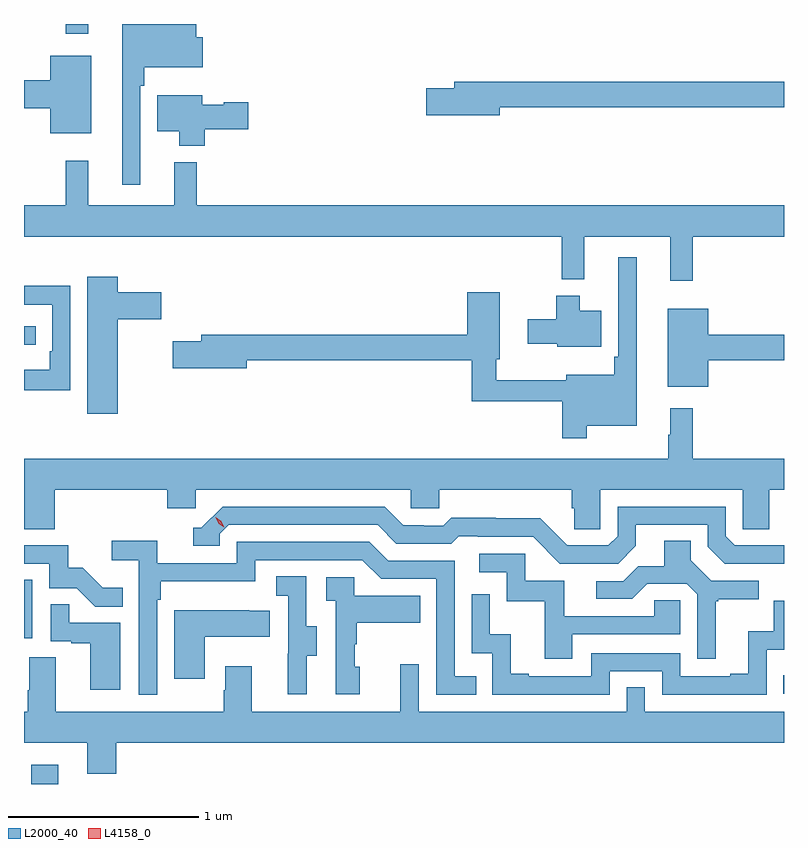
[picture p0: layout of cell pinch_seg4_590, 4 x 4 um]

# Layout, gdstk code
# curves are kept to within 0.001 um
import gdstk
lib = gdstk.Library(unit=1e-6, precision=1e-09)
def R(c, l, rs):  # rectangles x0, y0, x1, y1
    for r in rs: c.add(gdstk.rectangle(r[:2], r[2:], *l))
def P(c, l, *ps):  # polygons
    for p in ps: c.add(gdstk.Polygon(p, *l))
L2000_40 = (2000, 40)
L4158_0 = (4158, 0)

pinch_seg4_590 = lib.new_cell('pinch_seg4_590')
R(pinch_seg4_590, L2000_40, [(1058.363,787.279,1058.503,787.381), (1062.319,787.755,1062.324,787.852), (1058.324,788.046,1058.368,788.353), (1058.324,789.591,1058.386,789.687), (1058.545,791.229,1058.662,791.279)])
P(pinch_seg4_590, L2000_40, [(1058.937,790.955),(1058.957,790.955),(1058.957,791.051),(1059.265,791.051),(1059.265,791.209),(1059.23,791.209),(1059.23,791.279),(1058.84,791.279),(1058.84,790.434),(1058.937,790.434)],
  [(1058.677,791.113),(1058.462,791.113),(1058.462,790.982),(1058.324,790.982),(1058.324,790.835),(1058.462,790.835),(1058.462,790.703),(1058.677,790.703)],
  [(1060.828,790.84),(1062.324,790.84),(1062.324,790.976),(1060.589,790.976),(1060.589,790.94),(1060.44,790.94),(1060.44,790.798),(1060.828,790.798)],
  [(1059.275,790.726),(1059.505,790.726),(1059.505,790.868),(1059.375,790.868),(1059.375,790.855),(1059.262,790.855),(1059.262,790.903),(1059.026,790.903),(1059.026,790.715),(1059.14,790.715),(1059.14,790.637),(1059.275,790.637)],
  [(1061.843,790.16),(1062.324,790.16),(1062.324,790.324),(1059.233,790.324),(1059.233,790.552),(1059.116,790.552),(1059.116,790.324),(1058.663,790.324),(1058.663,790.558),(1058.545,790.558),(1058.545,790.324),(1058.324,790.324),(1058.324,790.16),(1061.155,790.16),(1061.155,789.935),(1061.273,789.935),(1061.273,790.16),(1061.726,790.16),(1061.726,789.927),(1061.843,789.927)],
  [(1061.287,789.164),(1061.548,789.164),(1061.548,790.051),(1061.451,790.051),(1061.451,789.529),(1061.431,789.529),(1061.431,789.433),(1061.177,789.433),(1061.177,789.404),(1060.81,789.404),(1060.81,789.515),(1060.828,789.515),(1060.828,789.868),(1060.658,789.868),(1060.658,789.644),(1059.257,789.644),(1059.257,789.608),(1059.108,789.608),(1059.108,789.466),(1059.496,789.466),(1059.496,789.508),(1060.681,789.508),(1060.681,789.294),(1061.158,789.294),(1061.158,789.099),(1061.287,789.099)],
  [(1058.818,789.725),(1059.046,789.725),(1059.046,789.867),(1058.818,789.867),(1058.818,789.949),(1058.657,789.949),(1058.657,789.228),(1058.818,789.228)],
  [(1058.568,789.902),(1058.324,789.902),(1058.324,789.801),(1058.472,789.801),(1058.472,789.556),(1058.459,789.556),(1058.459,789.46),(1058.324,789.46),(1058.324,789.351),(1058.568,789.351)],
  [(1061.362,789.769),(1061.248,789.769),(1061.248,789.85),(1061.126,789.85),(1061.126,789.726),(1060.974,789.726),(1060.974,789.596),(1061.13,789.596),(1061.13,789.581),(1061.362,789.581)],
  [(1061.926,789.508),(1062.324,789.508),(1062.324,789.644),(1061.926,789.644),(1061.926,789.781),(1061.711,789.781),(1061.711,789.371),(1061.926,789.371)],
  [(1058.324,788.828),(1058.326,788.828),(1058.326,788.62),(1058.486,788.62),(1058.486,788.828),(1059.077,788.828),(1059.077,788.73),(1059.228,788.73),(1059.228,788.828),(1060.359,788.828),(1060.359,788.73),(1060.509,788.73),(1060.509,788.828),(1061.207,788.828),(1061.207,788.73),(1061.221,788.73),(1061.221,788.62),(1061.358,788.62),(1061.358,788.828),(1062.108,788.828),(1062.108,788.62),(1062.247,788.62),(1062.247,788.828),(1062.324,788.828),(1062.324,788.992),(1061.843,788.992),(1061.843,789.256),(1061.726,789.256),(1061.726,789.116),(1061.715,789.116),(1061.715,788.992),(1058.324,788.992)],
  [(1062.324,788.535),(1062.066,788.535),(1062.018,788.583),(1062.018,788.739),(1061.448,788.739),(1061.448,788.583),(1061.4,788.535),(1061.184,788.535),(1061.042,788.677),(1060.806,788.677),(1060.806,788.68),(1060.573,788.68),(1060.531,788.637),(1060.428,788.637),(1060.428,788.64),(1060.321,788.64),(1060.222,788.739),(1059.369,788.739),(1059.258,788.628),(1059.215,788.628),(1059.215,788.532),(1059.354,788.532),(1059.354,788.595),(1059.402,788.643),(1060.185,788.643),(1060.284,788.544),(1060.573,788.544),(1060.612,788.583),(1060.711,788.583),(1060.711,788.58),(1061.004,788.58),(1061.145,788.439),(1061.451,788.439),(1061.545,788.533),(1061.545,788.643),(1061.922,788.643),(1061.922,788.529),(1062.012,788.439),(1062.324,788.438)],
  [(1061.965,788.241),(1061.977,788.241),(1061.977,788.252),(1062.19,788.252),(1062.19,788.349),(1061.94,788.349),(1061.833,788.456),(1061.833,788.558),(1061.693,788.558),(1061.693,788.426),(1061.558,788.426),(1061.478,788.346),(1061.337,788.346),(1061.337,788.253),(1061.524,788.253),(1061.605,788.334),(1061.811,788.334),(1061.868,788.277),(1061.868,787.938),(1061.965,787.938)],
  [(1059.024,788.249),(1059.044,788.249),(1059.044,788.345),(1059.54,788.345),(1059.54,788.457),(1060.104,788.457),(1060.203,788.358),(1060.494,788.358),(1060.494,787.749),(1060.703,787.749),(1060.703,787.845),(1060.59,787.845),(1060.59,788.454),(1060.24,788.454),(1060.141,788.553),(1059.444,788.553),(1059.444,788.442),(1059.026,788.442),(1059.026,788.558),(1058.787,788.558),(1058.787,788.456),(1058.928,788.456),(1058.928,787.749),(1059.024,787.749)],
  [(1058.843,788.311),(1058.739,788.311),(1058.632,788.418),(1058.556,788.418),(1058.556,788.535),(1058.324,788.535),(1058.324,788.439),(1058.457,788.439),(1058.457,788.31),(1058.601,788.31),(1058.699,788.212),(1058.843,788.212)],
  [(1061.209,788.067),(1061.778,788.067),(1061.778,788.247),(1061.641,788.247),(1061.641,788.163),(1061.167,788.163),(1061.167,788.349),(1060.962,788.349),(1060.962,788.49),(1060.719,788.49),(1060.719,788.394),(1060.866,788.394),(1060.866,788.241),(1061.065,788.241),(1061.065,787.938),(1061.209,787.938)],
  [(1059.811,787.954),(1059.865,787.954),(1059.865,788.109),(1059.81,788.109),(1059.81,788.372),(1059.651,788.372),(1059.651,788.269),(1059.714,788.269),(1059.714,787.965),(1059.713,787.965),(1059.713,787.752),(1059.811,787.752)],
  [(1060.09,787.896),(1060.065,787.896),(1060.065,788.015),(1060.075,788.015),(1060.075,788.129),(1060.409,788.129),(1060.409,788.269),(1060.062,788.269),(1060.062,788.367),(1059.915,788.367),(1059.915,788.243),(1059.966,788.243),(1059.966,787.752),(1060.09,787.752)],
  [(1061.406,787.872),(1061.682,787.872),(1061.682,787.749),(1062.234,787.749),(1062.234,787.985),(1062.324,787.985),(1062.324,788.244),(1062.27,788.244),(1062.27,788.083),(1062.137,788.083),(1062.137,787.858),(1062.041,787.858),(1062.041,787.845),(1061.778,787.845),(1061.778,787.968),(1061.31,787.968),(1061.31,787.845),(1060.981,787.845),(1060.981,787.858),(1060.886,787.858),(1060.886,788.066),(1060.776,788.066),(1060.776,788.278),(1060.68,788.278),(1060.68,787.968),(1060.788,787.968),(1060.788,787.749),(1061.406,787.749)],
  [(1058.83,788.127),(1058.561,788.127),(1058.561,788.225),(1058.466,788.225),(1058.466,788.031),(1058.573,788.031),(1058.573,788.019),(1058.672,788.019),(1058.672,787.776),(1058.83,787.776)],
  [(1059.274,788.054),(1059.617,788.054),(1059.617,788.191),(1059.509,788.191),(1059.509,788.194),(1059.116,788.194),(1059.116,787.833),(1059.274,787.833)],
  [(1058.81,787.496),(1062.324,787.496),(1062.324,787.66),(1061.592,787.66),(1061.592,787.787),(1061.496,787.787),(1061.496,787.66),(1060.401,787.66),(1060.401,787.909),(1060.304,787.909),(1060.304,787.66),(1059.523,787.66),(1059.523,787.9),(1059.383,787.9),(1059.383,787.772),(1059.376,787.772),(1059.376,787.66),(1058.491,787.66),(1058.491,787.946),(1058.351,787.946),(1058.351,787.772),(1058.344,787.772),(1058.344,787.66),(1058.324,787.66),(1058.324,787.496),(1058.657,787.496),(1058.657,787.332),(1058.81,787.332)])
P(pinch_seg4_590, L4158_0, [(1059.379,788.63),(1059.348,788.649),(1059.332,788.682),(1059.332,788.682),(1059.332,788.682),(1059.363,788.663),(1059.379,788.63),(1059.379,788.63)])

lib.write_gds('pinch_seg4_590.gds')
